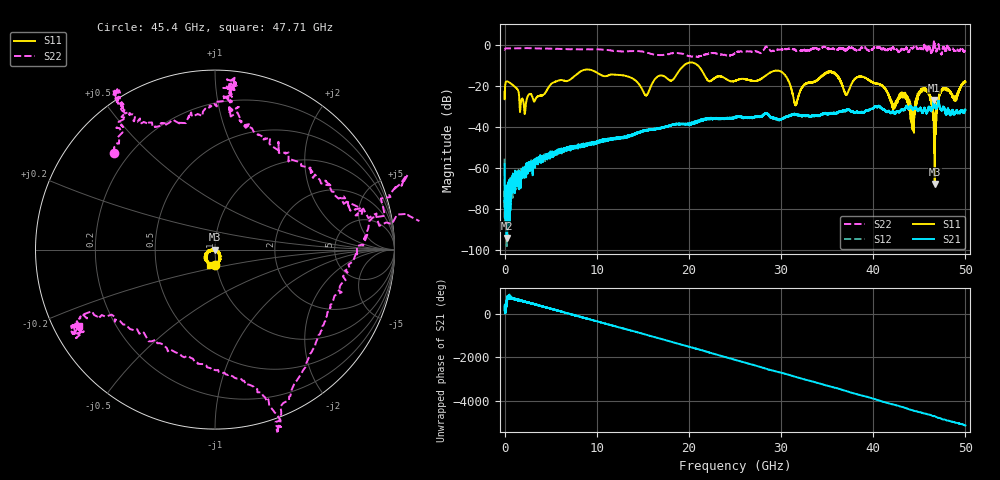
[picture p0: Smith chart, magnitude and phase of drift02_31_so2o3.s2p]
!Created with skrf (http://scikit-rf.org).
# Hz S RI R 50.0
!freq ReS11 ImS11 ReS21 ImS21 ReS12 ImS12 ReS22 ImS22
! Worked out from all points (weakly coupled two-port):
!   10001 points, 300 kHz to 50 GHz, reference 50 ohm
!   highest |S21| = -26.71 dB at 46.61 GHz (marker M1); lowest = -94.3 dB at 215.3 MHz (marker M2)
!   lowest |S11| = -67.9 dB at 46.67 GHz (marker M3), VSWR 1.00, Z = 50 - j0.0347 ohm
!   |S11| at or under -10 dB: start of sweep to 19.42 GHz; 21 GHz to end of sweep
!   |S22| runs from -5.7 to 2.4 dB; largest |S21 - S12| = 0.0044
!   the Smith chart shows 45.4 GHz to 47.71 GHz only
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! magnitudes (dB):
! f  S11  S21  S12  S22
! 300 kHz  -22.6  -58.2  -55.5  -2.1
! 215.3 MHz  -17.6  -94.3  -69.4  -1.4
! 2.185 GHz  -33.6  -60.1  -60.0  -1.3
! 8.335 GHz  -12.5  -49.1  -48.8  -1.9
! 15.34 GHz  -24.5  -41.4  -41.4  -3.4
! 16.67 GHz  -15.1  -40.7  -40.9  -4.7
! 20.28 GHz  -8.4  -38.4  -38.2  -5.5
! 25 GHz  -17.4  -35.3  -35.3  -3.9
! 29.86 GHz  -12.6  -36.2  -36.5  -2.0
! 31.59 GHz  -28.9  -33.7  -34.1  -2.4
! 33.34 GHz  -18.0  -34.5  -34.4  -1.6
! 35.59 GHz  -13.5  -33.3  -33.1  -1.6
! 37.1 GHz  -24.2  -31.9  -31.6  -2.2
! 38.75 GHz  -15.3  -32.8  -32.7  -0.9
! 41.67 GHz  -24.3  -32.2  -32.2  -1.8
! 43.41 GHz  -24.1  -31.1  -31.3  -2.0
! 44.3 GHz  -33.4  -31.0  -31.3  -1.5
! 45.7 GHz  -21.9  -32.4  -32.5  -0.8
! 46.61 GHz  -39.6  -26.7  -26.8  2.4
! 46.67 GHz  -67.9  -28.6  -28.4  0.5
! 47.46 GHz  -22.0  -31.7  -31.6  -3.6
! 50 GHz  -17.9  -31.5  -31.5  -2.7
